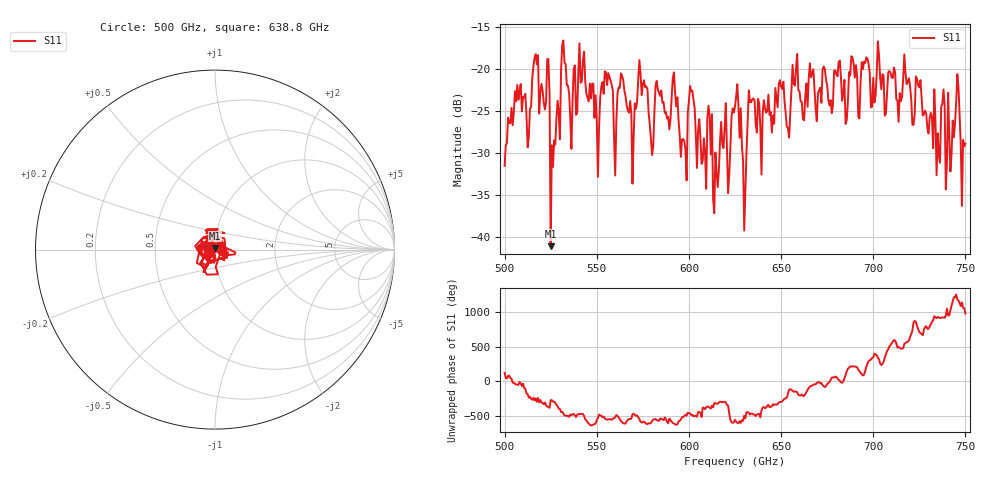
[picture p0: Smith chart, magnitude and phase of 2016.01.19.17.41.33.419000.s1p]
!Created with skrf (http://scikit-rf.org).
# GHz S RI R 50.0
!freq ReS11 ImS11
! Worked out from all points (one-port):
!   401 points, 500 GHz to 750 GHz, reference 50 ohm
!   lowest |S11| = -41.1 dB at 525 GHz (marker M1), VSWR 1.02, Z = 50.1 + j0.878 ohm
!   |S11| at or under -10 dB: start of sweep to end of sweep
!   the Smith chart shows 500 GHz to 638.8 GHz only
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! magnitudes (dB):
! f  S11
! 500 GHz  -31.6
! 506.9 GHz  -22.0
! 513.1 GHz  -28.2
! 516.9 GHz  -18.3
! 525 GHz  -41.1
! 526.2 GHz  -31.7
! 531.2 GHz  -17.2
! 535.6 GHz  -25.9
! 541.9 GHz  -21.5
! 550 GHz  -26.1
! 562.5 GHz  -22.3
! 568.8 GHz  -25.4
! 573.8 GHz  -20.6
! 579.4 GHz  -28.3
! 583.1 GHz  -22.5
! 593.8 GHz  -23.4
! 597.5 GHz  -28.6
! 601.9 GHz  -22.6
! 608.1 GHz  -28.3
! 611.2 GHz  -25.6
! 614.4 GHz  -30.0
! 625 GHz  -24.5
! 630 GHz  -39.3
! 633.8 GHz  -24.0
! 656.2 GHz  -19.6
! 687.5 GHz  -20.8
! 718.8 GHz  -21.6
! 750 GHz  -28.9
